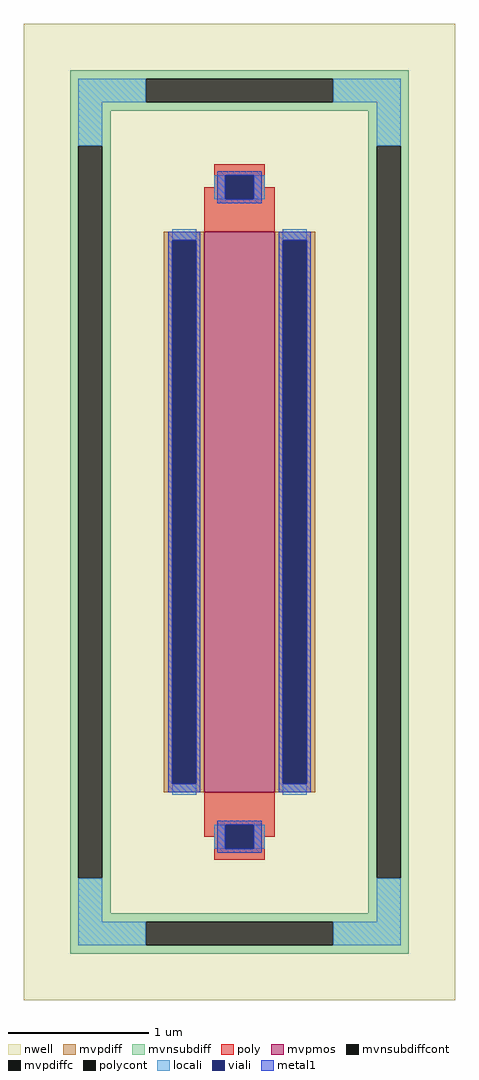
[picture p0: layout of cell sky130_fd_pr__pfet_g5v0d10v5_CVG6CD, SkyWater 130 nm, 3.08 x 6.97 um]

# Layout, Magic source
magic
tech sky130A
magscale 1 2
<< nwell >>
rect -308 -697 308 697
<< mvpmos >>
rect -50 -400 50 400
<< mvpdiff >>
rect -108 388 -50 400
rect -108 -388 -96 388
rect -62 -388 -50 388
rect -108 -400 -50 -388
rect 50 388 108 400
rect 50 -388 62 388
rect 96 -388 108 388
rect 50 -400 108 -388
<< mvpdiffc >>
rect -96 -388 -62 388
rect 62 -388 96 388
<< mvnsubdiff >>
rect -242 619 242 631
rect -242 585 -134 619
rect 134 585 242 619
rect -242 573 242 585
rect -242 523 -184 573
rect -242 -523 -230 523
rect -196 -523 -184 523
rect 184 523 242 573
rect -242 -573 -184 -523
rect 184 -523 196 523
rect 230 -523 242 523
rect 184 -573 242 -523
rect -242 -585 242 -573
rect -242 -619 -134 -585
rect 134 -619 242 -585
rect -242 -631 242 -619
<< mvnsubdiffcont >>
rect -134 585 134 619
rect -230 -523 -196 523
rect 196 -523 230 523
rect -134 -619 134 -585
<< poly >>
rect -36 481 36 497
rect -36 464 -20 481
rect -50 447 -20 464
rect 20 464 36 481
rect 20 447 50 464
rect -50 400 50 447
rect -50 -447 50 -400
rect -50 -464 -20 -447
rect -36 -481 -20 -464
rect 20 -464 50 -447
rect 20 -481 36 -464
rect -36 -497 36 -481
<< polycont >>
rect -20 447 20 481
rect -20 -481 20 -447
<< locali >>
rect -230 585 -134 619
rect 134 585 230 619
rect -230 523 -196 585
rect 196 523 230 585
rect -36 447 -20 481
rect 20 447 36 481
rect -96 388 -62 404
rect -96 -404 -62 -388
rect 62 388 96 404
rect 62 -404 96 -388
rect -36 -481 -20 -447
rect 20 -481 36 -447
rect -230 -585 -196 -523
rect 196 -585 230 -523
rect -230 -619 -134 -585
rect 134 -619 230 -585
<< viali >>
rect -20 447 20 481
rect -96 -388 -62 388
rect 62 -388 96 388
rect -20 -481 20 -447
<< metal1 >>
rect -32 481 32 487
rect -32 447 -20 481
rect 20 447 32 481
rect -32 441 32 447
rect -102 388 -56 400
rect -102 -388 -96 388
rect -62 -388 -56 388
rect -102 -400 -56 -388
rect 56 388 102 400
rect 56 -388 62 388
rect 96 -388 102 388
rect 56 -400 102 -388
rect -32 -447 32 -441
rect -32 -481 -20 -447
rect 20 -481 32 -447
rect -32 -487 32 -481
<< properties >>
string FIXED_BBOX -213 -602 213 602
string gencell sky130_fd_pr__pfet_g5v0d10v5
string library sky130
string parameters w 4 l 0.5 m 1 nf 1 diffcov 100 polycov 60 guard 1 glc 1 grc 1 gtc 1 gbc 1 tbcov 100 rlcov 100 topc 1 botc 1 poverlap 0 doverlap 1 lmin 0.50 wmin 0.42 compatible {sky130_fd_pr__pfet_01v8  sky130_fd_pr__pfet_01v8_lvt sky130_fd_pr__pfet_01v8_hvt  sky130_fd_pr__pfet_g5v0d10v5} full_metal 1 viasrc 100 viadrn 100 viagate 60 viagb 0 viagr 0 viagl 0 viagt 0
<< end >>
